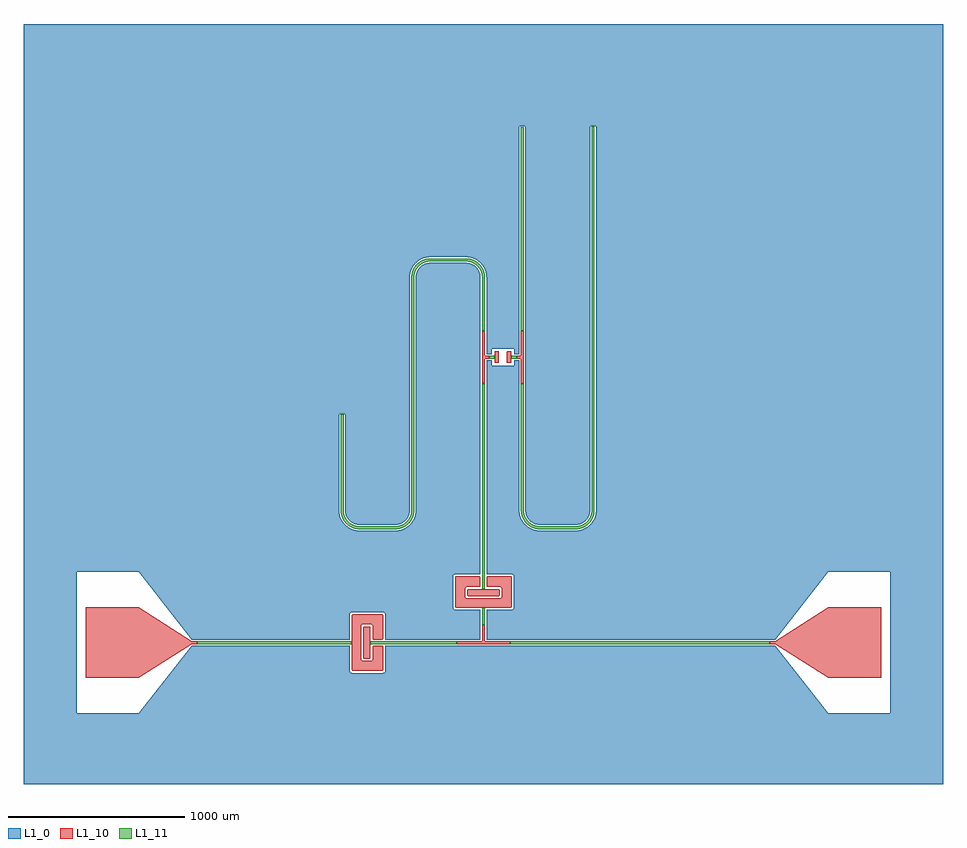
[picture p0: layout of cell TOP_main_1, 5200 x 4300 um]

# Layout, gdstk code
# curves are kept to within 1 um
import gdstk
lib = gdstk.Library(unit=1e-6, precision=1e-09)
def R(c, l, rs):  # rectangles x0, y0, x1, y1
    for r in rs: c.add(gdstk.rectangle(r[:2], r[2:], *l))
def P(c, l, *ps):  # polygons
    for p in ps: c.add(gdstk.Polygon(p, *l))
L1_0 = (1, 0)
L1_10 = (1, 10)
L1_11 = (1, 11)

ground_main_1 = lib.new_cell('ground_main_1')
R(ground_main_1, L1_0, [(-364.182,-800,4.357,-17), (4.357,-800,245.937,-17)])
P(ground_main_1, L1_0, [(-1950,400),(-1650,17),(-756.5,17),(-756.5,160),(-755.083,165.657),(-751.167,169.978),(-744.5,172),(-567.5,172),(-560.833,169.978),(-556.413,164.592),(-556.413,633),(-707.071,633.159),(-728.08,636.205),(-748.181,643.029),(-764.178,651.714),(-776.336,660.793),(-787.205,671.381),(-798.286,685.822),(-805.7,699.061),(-812.223,716.054),(-816.008,733.859),(-817,749),(-817,1290.965),(-783,1290.965),(-783,749),(-781.548,733.635),(-778.152,721.223),(-768.821,702.909),(-755.228,687.491),(-738.227,675.937),(-721.393,669.576),(-703.576,667.04),(-556.413,667),(-556.413,3500),(-2600,3500),(-2600,-800),(-556.413,-800),(-556.413,-164.592),(-560.833,-169.978),(-567.5,-172),(-744.5,-172),(-751.167,-169.978),(-755.083,-165.657),(-756.5,-160),(-756.5,-17),(-1650,-17),(-1950,-400),(-2300,-400),(-2300,400)],
  [(-496.424,667.04),(-481.112,668.975),(-466.434,673.744),(-452.909,681.179),(-441.017,691.017),(-431.179,702.909),(-423.744,716.434),(-418.975,731.112),(-417.04,746.424),(-416.96,2069.037),(-412.223,2098.946),(-401.459,2124),(-385.143,2145.849),(-364.182,2163.283),(-364.182,3500),(-556.413,3500),(-556.413,667)],
  [(-364.182,2118.269),(-372.857,2105.504),(-378.152,2093.777),(-381.548,2081.365),(-383,2066),(-383.358,739.899),(-388.677,713.154),(-400.094,688.39),(-416.976,666.976),(-438.39,650.094),(-460.278,639.654),(-483.859,633.992),(-556.413,633),(-555.5,17),(-364.182,17)],
  [(-364.182,-17),(-555.5,-17),(-555.5,-160),(-555.558,-161.176),(-555.731,-162.341),(-556.017,-163.483),(-556.413,-164.592),(-556.413,-800),(-364.182,-800)],
  [(4.357,3500),(-364.182,3500),(-364.182,2163.283),(-336.846,2176.323),(-307.071,2181.841),(-83.859,2181.008),(-57.429,2174.295),(-33.297,2161.599),(-12.795,2143.619),(4.357,2118.663)],
  [(-17,186),(-161.176,186.058),(-169.276,190.387),(-172,198),(-172,375),(-169.276,382.613),(-164.592,386.087),(-160,387),(-17,387),(-17,2066),(-18.01,2078.828),(-21.013,2091.339),(-25.937,2103.227),(-39.225,2122.133),(-48.742,2130.793),(-59.496,2137.857),(-81.112,2146.025),(-99,2148),(-313.828,2146.99),(-326.339,2143.987),(-340.504,2137.857),(-353.269,2129.182),(-364.182,2118.269),(-364.182,17),(-17,17)],
  [(245.937,3500),(4.357,3500),(4.357,2118.663),(13.795,2093.08),(16.96,2069.037),(17,1632),(46.5,1632),(46.51,1661.696),(48.5,1663.5),(171.89,1663.462),(173.49,1661.696),(173.5,1632),(203,1632),(203,2921),(237,2921),(237,749),(239.576,728.607),(245.937,711.773)],
  [(245.937,658.902),(228.851,675.999),(215.643,696.337),(206.953,718.977),(203.159,742.929),(203,1598),(173.5,1598),(173.49,1568.304),(171.5,1566.5),(48.11,1566.538),(46.51,1568.304),(46.5,1598),(17,1598),(17,387),(161.176,386.942),(169.276,382.613),(172,375),(171.087,193.408),(166.667,188.022),(160,186),(17,186),(17,17),(245.937,17)],
  [(2600,3500),(245.937,3500),(245.937,711.773),(251.179,702.909),(261.017,691.017),(275.062,679.765),(291.223,671.848),(308.723,667.647),(528.717,667.364),(541.393,669.576),(555.914,674.804),(567.091,681.179),(577.133,689.225),(585.793,698.742),(594.063,711.773),(598.987,723.661),(601.99,736.172),(603,749),(603,2922.582),(637,2922.582),(636.008,733.859),(632.223,716.054),(625.7,699.061),(616.599,683.297),(605.143,669.151),(591.616,656.971),(576.35,647.057),(559.722,639.654),(542.139,634.942),(521,633),(309.899,633.358),(291.92,636.205),(274.609,641.83),(258.39,650.094),(245.937,658.902),(245.937,17),(1650,17),(1950,400),(2300,400),(2300,-400),(1950,-400),(1650,-17),(245.937,-17),(245.937,-800),(2600,-800)])

top_main_1 = lib.new_cell('TOP_main_1')
P(top_main_1, L1_10, [(-1650,8),(-1950,200),(-2250,200),(-2250,-200),(-1950,-200),(-1650,-8),(-1620,-8),(-1620,8),(-1650,8)],
  [(1650,-8),(1950,-200),(2250,-200),(2250,200),(1950,200),(1650,8),(1620,8),(1620,-8),(1650,-8)],
  [(-672.5,-91),(-678.157,-88.657),(-680.5,-83),(-680.461,83.784),(-678.157,88.657),(-674.061,90.846),(-646.716,90.961),(-641.843,88.657),(-639.5,83),(-639.539,-83.784),(-641.843,-88.657),(-645.939,-90.846)],
  [(-575.402,-159.995),(-569.989,-157.789),(-567.505,-152.098),(-567.5,-25.098),(-570.279,-18.948),(-575.598,-17),(-619.598,-17.005),(-624.102,-18.465),(-627.471,-24.412),(-627.5,-95),(-628.848,-99.445),(-634.716,-102.961),(-684.5,-103),(-690.157,-100.657),(-692.461,-95.784),(-692.5,-17),(-744.5,-17),(-744.5,-151.902),(-741.721,-158.052),(-736.402,-160)],
  [(-692.5,95),(-690.157,100.657),(-685.284,102.961),(-635.5,103),(-631.055,101.652),(-627.539,95.784),(-627.5,25.098),(-625.801,20.083),(-620.088,17.029),(-575.598,17),(-571.56,18.046),(-568.747,20.724),(-567.5,25.098),(-567.5,151.902),(-570.279,158.052),(-575.598,160),(-738.251,159.799),(-742.801,156.917),(-744.495,152.098),(-744.5,-17),(-692.5,-17)],
  [(150,-8),(-150,-8),(-150,8),(-8,8),(-8,100),(8,100),(8,8),(150,8),(150,-8)],
  [(91,270),(88.657,264.343),(83,262),(-83.784,262.039),(-88.657,264.343),(-90.846,268.439),(-90.961,295.784),(-88.657,300.657),(-83,303),(83.784,302.961),(88.657,300.657),(90.846,296.561)],
  [(17,250),(-95,250),(-99.445,251.348),(-102.656,255.678),(-103,307),(-100.075,313.184),(-95,315),(-24.412,315.029),(-18.465,318.398),(-17.005,322.902),(-17.005,367.098),(-20.398,373.535),(-25.098,375),(-151.902,375),(-158.535,371.602),(-160,366.902),(-160,206.098),(-156.602,199.465),(-151.902,198),(17,198)],
  [(152.098,198.005),(157.511,200.211),(159.995,205.902),(160,366.902),(158.301,371.917),(151.902,375),(25.098,375),(20.083,373.301),(17.005,367.098),(17.005,322.902),(18.465,318.398),(24.412,315.029),(95,315),(99.445,313.652),(102.961,307.784),(103,258),(100.657,252.343),(95.784,250.039),(17,250),(17,198)],
  [(-8,1465),(-8,1765),(8,1765),(8,1623),(32.5,1623),(32.5,1607),(8,1607),(8,1465),(-8,1465)],
  [(187.5,1623),(212,1623),(212,1765),(228,1765),(228,1465),(212,1465),(212,1607),(187.5,1607),(187.5,1623)],
  [(64.5,1582.5),(62.5,1584.5),(62.586,1646.081),(64.304,1647.49),(86.081,1647.414),(87.5,1645.5),(87.414,1583.919),(85.696,1582.51)],
  [(134.5,1582.5),(132.5,1584.5),(132.586,1646.081),(134.304,1647.49),(156.081,1647.414),(157.5,1645.5),(157.414,1583.919),(155.696,1582.51)])
R(top_main_1, L1_11, [(-1620,-8,-792.5,8), (-792.5,-8,-744.499,8), (-639.501,-8,-527.5,8), (-527.5,-8,-150,8), (150,-8,1620,8), (-8,100,8,150), (-8,150,8,198.001), (-8,302.999,8,415), (-8,415,8,1465), (32.5,1607,52.5,1623), (52.5,1607,62.501,1623), (157.499,1607,167.5,1623), (167.5,1607,187.5,1623), (212,1765,228,2915)])
P(top_main_1, L1_11, [(-496.052,642.041),(-481.388,643.459),(-467.059,646.879),(-453.335,652.234),(-440.477,659.423),(-420.278,676.531),(-411.07,688.031),(-403.529,700.686),(-421.89,700.686),(-430.066,689.593),(-439.593,680.066),(-462.316,665.722),(-480.256,659.951),(-499,658),(-714.436,658.997),(-735.2,664.671),(-751.837,673.524),(-766.293,685.614),(-778.11,700.686),(-796.471,700.686),(-783.595,680.978),(-766.721,664.562),(-743.981,651.012),(-721.513,643.985),(-701,642)],
  [(-402.234,703.335),(-394.59,725.601),(-392,749),(-391.96,2068.697),(-388.032,2092.577),(-378.11,2114.314),(-396.471,2114.314),(-404.726,2092.267),(-407.959,2068.948),(-408,749),(-411.218,725.014),(-421.89,700.686),(-403.529,700.686)],
  [(8,2066),(4.726,2092.267),(-3.529,2114.314),(-21.89,2114.314),(-11.968,2092.577),(-8.04,2068.697),(-8,1765),(8,1765)],
  [(-779.355,702.724),(-788.782,725.014),(-791.96,746.303),(-792,1290.965),(-808,1290.965),(-807.838,743.106),(-803.963,719.885),(-796.471,700.686),(-778.11,700.686)],
  [(-4.896,2116.926),(-18.311,2136.272),(-35.631,2152.217),(-56.019,2163.988),(-78.487,2171.015),(-99,2173),(-301,2173),(-315.697,2171.986),(-330.115,2168.963),(-343.981,2163.988),(-357.033,2157.155),(-369.022,2148.595),(-379.722,2138.469),(-388.93,2126.969),(-396.471,2114.314),(-378.11,2114.314),(-369.934,2125.407),(-360.407,2134.934),(-337.684,2149.278),(-319.744,2155.049),(-301,2157),(-85.564,2156.003),(-64.8,2150.329),(-48.163,2141.476),(-33.707,2129.386),(-21.89,2114.314),(-3.529,2114.314)],
  [(523.948,642.041),(547.267,645.274),(569.314,653.529),(586.721,664.562),(603.595,680.978),(581.433,680.978),(567.276,670.645),(552.686,663.695),(537.097,659.435),(521,658),(310.92,658.359),(295.014,661.218),(282.316,665.722),(270.422,672.051),(258.567,680.978),(236.405,680.978),(250.978,666.405),(265.5,656.335),(284.257,647.798),(304.303,643.014)],
  [(605.438,683.279),(615.104,698.074),(622.202,714.257),(626.541,731.388),(628,749),(628,2922.582),(612,2922.582),(611.96,746.303),(609.454,727.625),(603.155,709.864),(593.332,693.781),(581.433,680.978),(603.595,680.978)],
  [(257.577,681.857),(246.668,693.781),(236.845,709.864),(230.546,727.625),(228.16,743.609),(228,1465),(212,1465),(212.162,743.106),(214.59,725.601),(218.793,711.482),(224.896,698.074),(232.783,685.631),(236.405,680.978)])
top_main_1.add(gdstk.Reference(ground_main_1, (0,0)))

lib.write_gds('TOP_main_1.gds')
